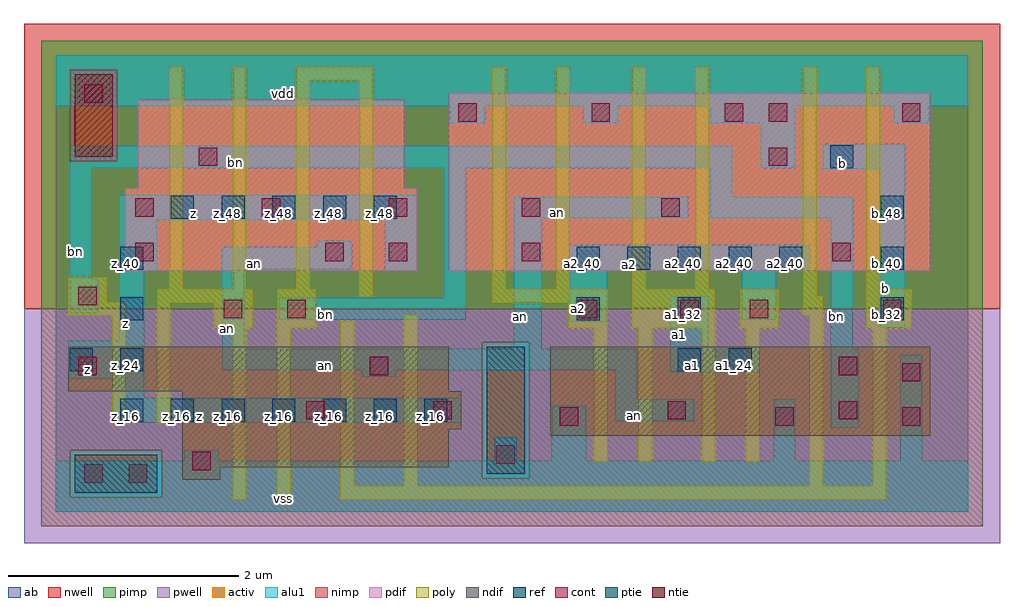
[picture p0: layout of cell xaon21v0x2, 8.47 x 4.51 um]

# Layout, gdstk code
import gdstk
lib = gdstk.Library(unit=1e-6, precision=2.5e-09)
def R(c, l, rs):  # rectangles x0, y0, x1, y1
    for r in rs: c.add(gdstk.rectangle(r[:2], r[2:], *l))
def A(c, l, x, y, w, h, nx, ny, dx, dy):  # array of equal rectangles
    R(c, l, [(x+i*dx, y+j*dy, x+i*dx+w, y+j*dy+h) for i in range(nx) for j in range(ny)])
ndif = (3, 0)
pdif = (4, 0)
ntie = (5, 0)
ptie = (6, 0)
ref = (24, 0)
cont = (25, 0)
pwell = (41, 0)
nwell = (42, 0)
activ = (43, 0)
pimp = (44, 0)
nimp = (45, 0)
poly = (46, 0)
alu1 = (49, 0)
ab = (63, 0)

xaon21v0x2 = lib.new_cell('xaon21v0x2')
R(xaon21v0x2, ndif, [(1.1,0.275,1.43,0.385), (1.1,0.385,3.41,0.715), (4.29,0.66,7.59,1.43), (1.1,0.715,3.52,1.045), (0.11,1.045,3.41,1.43)])
R(xaon21v0x2, pdif, [(0.605,2.09,3.135,2.805), (3.41,2.09,7.59,3.63), (0.715,2.805,3.025,3.575)])
R(xaon21v0x2, ntie, [(0.165,3.08,0.495,3.795)])
R(xaon21v0x2, ptie, [(0.165,0.165,0.88,0.495), (3.74,0.33,4.07,1.43)])
A(xaon21v0x2, ref, 0.56, 0.78, 0.2, 0.2, 7, 1, 0.44, 0)
A(xaon21v0x2, ref, 0.56, 1.22, 0.2, 0.2, 1, 3, 0, 0.44)
A(xaon21v0x2, ref, 7.16, 1.66, 0.2, 0.2, 1, 3, 0, 0.44)
A(xaon21v0x2, ref, 4.52, 2.1, 0.2, 0.2, 5, 1, 0.44, 0)
A(xaon21v0x2, ref, 1, 2.54, 0.2, 0.2, 5, 1, 0.44, 0)
R(xaon21v0x2, ref, [(0.12,1.22,0.32,1.42), (5.4,1.22,5.6,1.42), (5.84,1.22,6.04,1.42), (4.52,1.66,4.72,1.86), (5.4,1.66,5.6,1.86), (6.72,2.98,6.92,3.18)])
A(xaon21v0x2, cont, 0.69, 2.56, 0.16, 0.16, 3, 1, 1.1, 0)
A(xaon21v0x2, cont, 3.495, 3.385, 0.16, 0.16, 3, 1, 1.155, 0)
R(xaon21v0x2, cont, [(0.25,0.25,0.41,0.41), (0.635,0.25,0.795,0.41), (1.185,0.36,1.345,0.52), (3.825,0.415,3.985,0.575), (4.375,0.745,4.535,0.905), (6.245,0.745,6.405,0.905), (7.345,0.745,7.505,0.905), (2.175,0.8,2.335,0.96), (3.275,0.8,3.435,0.96), (5.31,0.8,5.47,0.96), (6.795,0.8,6.955,0.96), (7.345,1.13,7.505,1.29), (0.195,1.185,0.355,1.345), (2.725,1.185,2.885,1.345), (6.795,1.185,6.955,1.345), (1.46,1.68,1.62,1.84), (2.01,1.68,2.17,1.84), (4.54,1.68,4.7,1.84), (5.42,1.68,5.58,1.84), (6.025,1.68,6.185,1.84), (7.18,1.68,7.34,1.84), (0.195,1.79,0.355,1.95), (0.69,2.175,0.85,2.335), (2.34,2.175,2.5,2.335), (2.89,2.175,3.05,2.335), (4.045,2.175,4.205,2.335), (6.74,2.175,6.9,2.335), (4.045,2.56,4.205,2.72), (5.255,2.56,5.415,2.72), (1.24,3,1.4,3.16), (6.19,3,6.35,3.16), (6.19,3.385,6.35,3.545), (7.345,3.385,7.505,3.545), (0.25,3.55,0.41,3.71)])
R(xaon21v0x2, pwell, [(-0.275,-0.275,8.195,1.76)])
R(xaon21v0x2, nwell, [(-0.275,1.76,8.195,4.235)])
R(xaon21v0x2, activ, [(0.165,0.165,0.88,0.495), (1.1,0.275,1.43,0.385), (3.74,0.33,4.07,1.43), (1.1,0.385,3.41,0.715), (4.29,0.66,7.59,1.43), (1.1,0.715,3.52,1.045), (0.11,1.045,3.41,1.43), (0.605,2.09,3.135,2.805), (3.41,2.09,7.59,3.63), (0.715,2.805,3.025,3.575), (0.165,3.08,0.495,3.795)])
R(xaon21v0x2, pimp, [(0.125,0.125,0.92,0.535), (3.7,0.29,4.11,1.47), (-0.125,1.76,8.045,3.04), (-0.125,3.04,0.125,3.835), (0.535,3.04,8.045,3.835), (-0.125,3.835,8.045,4.085)])
R(xaon21v0x2, nimp, [(-0.125,-0.125,8.045,0.125), (-0.125,0.125,0.125,0.535), (0.92,0.125,8.045,0.29), (0.92,0.29,3.7,0.535), (4.11,0.29,8.045,1.47), (-0.125,0.535,3.7,1.47), (-0.125,1.47,8.045,1.76), (0.125,3.04,0.535,3.835)])
R(xaon21v0x2, poly, [(1.535,0.105,1.655,1.59), (1.92,0.105,2.04,1.59), (2.47,0.105,7.21,0.225), (2.47,0.225,2.59,1.655), (3.02,0.225,3.14,1.71), (6.54,0.225,6.66,1.7), (7.09,0.225,7.21,1.59), (4.67,0.435,4.79,1.59), (5.055,0.435,5.175,1.59), (5.605,0.435,5.725,1.59), (5.99,0.435,6.11,1.59), (0.49,0.765,0.61,1.7), (0.875,0.765,0.995,1.81), (1.37,1.59,1.71,1.81), (1.92,1.59,2.26,1.93), (4.45,1.59,4.79,1.81), (5,1.59,5.725,1.93), (5.935,1.59,6.275,1.93), (7.035,1.59,7.43,1.93), (0.105,1.7,0.61,1.82), (6.485,1.7,6.66,1.875), (0.875,1.81,1.71,1.93), (3.79,1.81,4.79,1.93), (0.105,1.82,0.445,2.04), (2.635,1.865,2.755,3.735), (6.485,1.875,6.605,3.855), (0.985,1.93,1.105,3.855), (1.535,1.93,1.655,3.855), (2.085,1.93,2.205,3.735), (3.79,1.93,3.91,3.855), (4.34,1.93,4.46,3.855), (5,1.93,5.12,3.855), (5.55,1.93,5.67,3.855), (7.035,1.93,7.155,3.855), (2.085,3.735,2.755,3.855)])
R(xaon21v0x2, alu1, [(0,0,7.92,0.44), (1.115,0.44,1.415,0.535), (3.81,0.44,4,0.645), (4.305,0.44,4.605,0.92), (6.23,0.44,6.42,0.975), (7.33,0.44,7.52,1.36), (6.725,0.73,6.97,1.415), (0.495,0.77,3.52,0.99), (4.855,0.785,5.54,0.975), (4.855,0.975,5.045,1.225), (0.495,0.99,0.77,1.155), (0.11,1.155,0.77,1.485), (2.655,1.17,2.955,1.225), (5.335,1.21,6.105,1.43), (1.445,1.225,5.045,1.415), (1.445,1.415,1.635,2.105), (3.975,1.415,4.22,2.545), (6.725,1.415,6.915,2.545), (5.335,1.43,5.665,1.87), (0.55,1.485,0.77,2.09), (7.15,1.595,7.37,2.97), (4.455,1.65,4.785,2.09), (1.94,1.665,3.56,1.855), (5.955,1.665,6.255,2.09), (0.125,1.72,0.37,2.02), (3.37,1.855,3.56,2.985), (0.125,2.02,0.315,2.985), (0.55,2.09,0.88,2.53), (2.86,2.09,3.135,2.53), (4.455,2.09,6.545,2.31), (1.445,2.105,2.57,2.295), (2.27,2.295,2.57,2.35), (0.55,2.53,3.135,2.75), (3.975,2.545,5.485,2.735), (5.68,2.545,6.915,2.735), (5.68,2.735,5.87,2.985), (6.655,2.97,7.37,3.19), (0.125,2.985,5.87,3.175), (6.12,2.985,6.42,3.37), (3.425,3.37,3.725,3.52), (4.58,3.37,4.88,3.52), (5.68,3.37,6.42,3.52), (7.275,3.37,7.575,3.52), (0,3.52,7.92,3.96)])
R(xaon21v0x2, ab, [(0,0,7.92,3.96)])
xaon21v0x2.add(gdstk.Label('vss', (1.98,0.11), layer=49, texttype=0))
xaon21v0x2.add(gdstk.Label('an', (5.025,0.8325), layer=49, texttype=0))
xaon21v0x2.add(gdstk.Label('b', (7.205,1.9375), layer=49, texttype=0))
xaon21v0x2.add(gdstk.Label('bn', (6.7725,1.6975), layer=49, texttype=0))
xaon21v0x2.add(gdstk.Label('a1', (5.5275,1.265), layer=49, texttype=0))
xaon21v0x2.add(gdstk.Label('z', (1.25,0.825), layer=49, texttype=0))
xaon21v0x2.add(gdstk.Label('an', (2.345,1.2725), layer=49, texttype=0))
xaon21v0x2.add(gdstk.Label('a1', (5.4175,1.54), layer=49, texttype=0))
xaon21v0x2.add(gdstk.Label('a2', (4.5375,1.76), layer=49, texttype=0))
xaon21v0x2.add(gdstk.Label('a2', (4.9775,2.145), layer=49, texttype=0))
xaon21v0x2.add(gdstk.Label('an', (4.035,1.6975), layer=49, texttype=0))
xaon21v0x2.add(gdstk.Label('an', (4.3525,2.5925), layer=49, texttype=0))
xaon21v0x2.add(gdstk.Label('bn', (2.345,1.7125), layer=49, texttype=0))
xaon21v0x2.add(gdstk.Label('b', (6.8325,3.025), layer=49, texttype=0))
xaon21v0x2.add(gdstk.Label('an', (1.4925,1.5875), layer=49, texttype=0))
xaon21v0x2.add(gdstk.Label('z', (0.275,1.2375), layer=49, texttype=0))
xaon21v0x2.add(gdstk.Label('z', (0.605,1.635), layer=49, texttype=0))
xaon21v0x2.add(gdstk.Label('an', (1.725,2.1525), layer=49, texttype=0))
xaon21v0x2.add(gdstk.Label('z', (1.195,2.585), layer=49, texttype=0))
xaon21v0x2.add(gdstk.Label('bn', (0.1725,2.26), layer=49, texttype=0))
xaon21v0x2.add(gdstk.Label('bn', (1.56,3.0325), layer=49, texttype=0))
xaon21v0x2.add(gdstk.Label('vdd', (1.98,3.63), layer=49, texttype=0))
xaon21v0x2.add(gdstk.Label('z_16', (0.61,0.83), layer=24, texttype=0))
xaon21v0x2.add(gdstk.Label('a2_40', (5.01,2.15), layer=24, texttype=0))
xaon21v0x2.add(gdstk.Label('a2_40', (4.57,2.15), layer=24, texttype=0))
xaon21v0x2.add(gdstk.Label('a2_32', (4.57,1.71), layer=24, texttype=0))
xaon21v0x2.add(gdstk.Label('z_16', (3.25,0.83), layer=24, texttype=0))
xaon21v0x2.add(gdstk.Label('z_48', (2.81,2.59), layer=24, texttype=0))
xaon21v0x2.add(gdstk.Label('z_16', (2.81,0.83), layer=24, texttype=0))
xaon21v0x2.add(gdstk.Label('z_48', (2.37,2.59), layer=24, texttype=0))
xaon21v0x2.add(gdstk.Label('z_16', (2.37,0.83), layer=24, texttype=0))
xaon21v0x2.add(gdstk.Label('z_24', (0.17,1.27), layer=24, texttype=0))
xaon21v0x2.add(gdstk.Label('z_48', (1.93,2.59), layer=24, texttype=0))
xaon21v0x2.add(gdstk.Label('z_16', (1.93,0.83), layer=24, texttype=0))
xaon21v0x2.add(gdstk.Label('z_48', (1.49,2.59), layer=24, texttype=0))
xaon21v0x2.add(gdstk.Label('z_16', (1.49,0.83), layer=24, texttype=0))
xaon21v0x2.add(gdstk.Label('z_48', (1.05,2.59), layer=24, texttype=0))
xaon21v0x2.add(gdstk.Label('z_16', (1.05,0.83), layer=24, texttype=0))
xaon21v0x2.add(gdstk.Label('b_48', (7.21,2.59), layer=24, texttype=0))
xaon21v0x2.add(gdstk.Label('b_40', (7.21,2.15), layer=24, texttype=0))
xaon21v0x2.add(gdstk.Label('b_32', (7.21,1.71), layer=24, texttype=0))
xaon21v0x2.add(gdstk.Label('b_56', (6.77,3.03), layer=24, texttype=0))
xaon21v0x2.add(gdstk.Label('z_40', (0.61,2.15), layer=24, texttype=0))
xaon21v0x2.add(gdstk.Label('z_32', (0.61,1.71), layer=24, texttype=0))
xaon21v0x2.add(gdstk.Label('z_24', (0.61,1.27), layer=24, texttype=0))
xaon21v0x2.add(gdstk.Label('a2_40', (6.33,2.15), layer=24, texttype=0))
xaon21v0x2.add(gdstk.Label('a2_40', (5.89,2.15), layer=24, texttype=0))
xaon21v0x2.add(gdstk.Label('a1_24', (5.89,1.27), layer=24, texttype=0))
xaon21v0x2.add(gdstk.Label('a2_40', (5.45,2.15), layer=24, texttype=0))
xaon21v0x2.add(gdstk.Label('a1_32', (5.45,1.71), layer=24, texttype=0))
xaon21v0x2.add(gdstk.Label('a1_24', (5.45,1.27), layer=24, texttype=0))

lib.write_gds('xaon21v0x2.gds')
